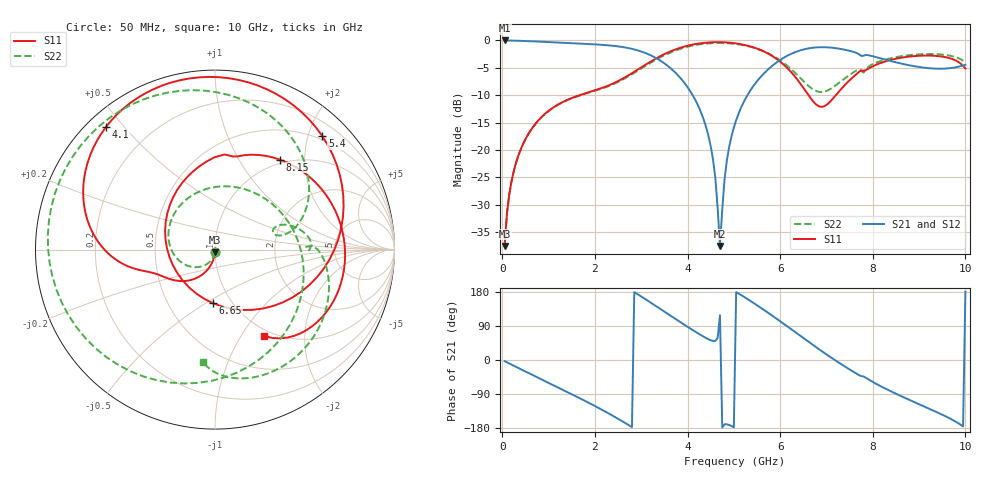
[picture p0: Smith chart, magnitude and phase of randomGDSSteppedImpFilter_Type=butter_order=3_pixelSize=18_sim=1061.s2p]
! freq	dB(S11)	phase(S11)	dB(S12)	phase(S12)
!  dB(S21)	phase(S21)	dB(S22)	phase(S22)
!S-par simulation data
#  GHz  S  DB  R 50
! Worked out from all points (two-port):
!   200 points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, 50 MHz to 10 GHz, reference 50 ohm
!   highest |S21| = -0.01 dB at 50 MHz (marker M1); lowest = -37.5 dB at 4.7 GHz (marker M2)
!   |S21| within 3 dB of the highest: start of sweep to 3.273 GHz; 6.109 GHz to 8.05 GHz (1.941 GHz wide, 27.4 % of centre)
!   lowest |S11| = -37.6 dB at 50 MHz (marker M3), VSWR 1.03, Z = 49.9 - j1.32 ohm
!   |S11| at or under -10 dB: start of sweep to 1.674 GHz; 6.61 GHz to 7.203 GHz (592.7 MHz wide, 8.58 % of centre)
!   |S22| runs from -37.6 to -0.5 dB; largest |S21 - S12| = 0
!   S11 on the Smith chart (normalised r, x): 50 MHz: 1.00, -0.03; 4.1 GHz: 0.05, +0.45; 5.4 GHz: 0.43, +2.25; 6.65 GHz: 0.82, -0.54; 8.15 GHz: 0.94, +1.52; 10 GHz: 0.91, -1.27
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0.05  -37.57 -91.6  -0.01 -3.1  -0.01 -3.1  -37.59 -93.5
0.2  -25.68 -98.7  -0.03 -12.2  -0.03 -12.2  -25.71 -106.1
0.5  -18.04 -111.5  -0.11 -30.3  -0.11 -30.3  -18.07 -130.3
1.15  -11.99 -135.8  -0.37 -69.2  -0.37 -69.2  -12.02 176.0
1.75  -9.79 -152.2  -0.61 -105.6  -0.61 -105.6  -9.85 119.7
2.3  -8.21 -161.3  -0.90 -141.2  -0.90 -141.2  -8.34 57.5
2.8  -5.99 -169.8  -1.54 -177.1  -1.54 -177.1  -6.19 -6.0
3.4  -2.93 169.1  -3.62 135.7  -3.62 135.7  -3.15 -79.9
4.1  -0.78 131.7  -9.85 79.9  -9.85 79.9  -0.97 -155.9
4.5  -0.35 107.7  -19.30 52.1  -19.30 52.1  -0.52 165.3
4.7  -0.32 95.1  -37.54 118.0  -37.54 118.0  -0.47 146.7
4.85  -0.37 85.4  -21.88 -169.6  -21.88 -169.6  -0.51 133.2
5.05  -0.55 71.9  -14.57 179.2  -14.57 179.2  -0.66 115.4
5.4  -1.21 46.6  -8.60 152.6  -8.60 152.6  -1.25 85.2
5.95  -3.54 -0.1  -3.86 106.6  -3.86 106.6  -3.35 41.4
6.65  -10.47 -91.8  -1.40 44.8  -1.40 44.8  -8.57 12.1
6.7  -11.02 -102.0  -1.34 40.4  -1.34 40.4  -8.89 12.6
7.3  -9.04 135.6  -1.55 -9.6  -1.55 -9.6  -7.55 19.3
8.15  -4.18 54.3  -3.24 -67.9  -3.24 -67.9  -3.81 -12.4
8.35  -3.64 40.4  -3.69 -80.1  -3.69 -80.1  -3.32 -22.0
9.2  -2.77 -11.5  -5.06 -127.6  -5.06 -127.6  -2.48 -60.3
10  -5.15 -60.4  -4.46 179.9  -4.46 179.9  -4.02 -96.1
